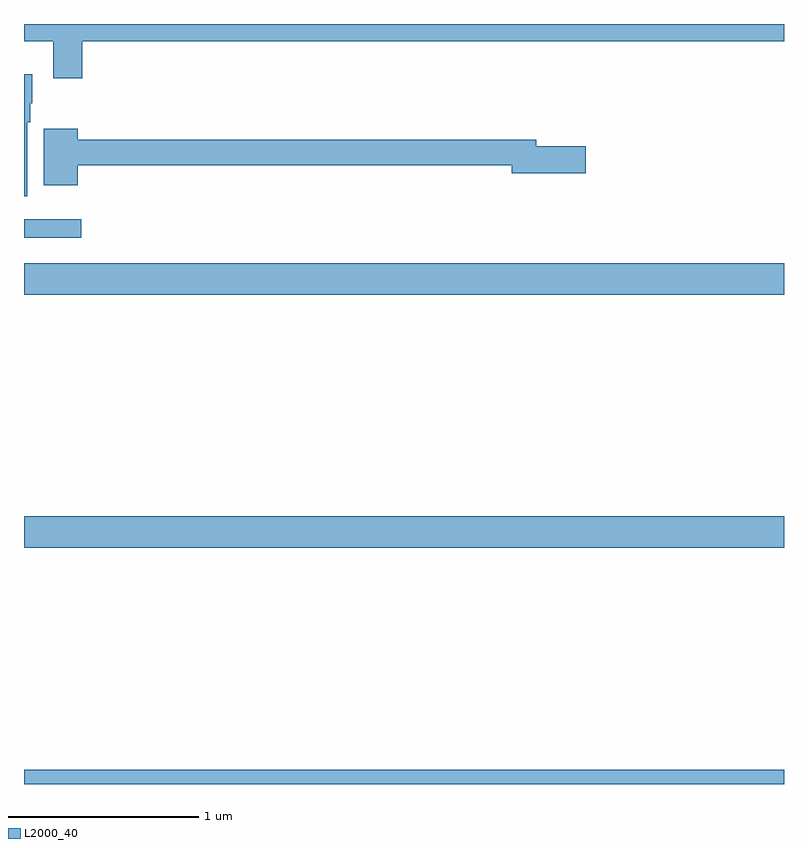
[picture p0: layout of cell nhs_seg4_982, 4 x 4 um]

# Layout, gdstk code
import gdstk
lib = gdstk.Library(unit=1e-6, precision=1e-09)
def R(c, l, rs):  # rectangles x0, y0, x1, y1
    for r in rs: c.add(gdstk.rectangle(r[:2], r[2:], *l))
def P(c, l, *ps):  # polygons
    for p in ps: c.add(gdstk.Polygon(p, *l))
L2000_40 = (2000, 40)

nhs_seg4_982 = lib.new_cell('nhs_seg4_982')
R(nhs_seg4_982, L2000_40, [(161,804.9,165,804.976), (161,806.144,165,806.308), (161,807.476,165,807.64), (161,807.776,161.302,807.873)])
P(nhs_seg4_982, L2000_40, [(161.306,808.808),(165,808.808),(165,808.9),(161,808.9),(161,808.808),(161.153,808.808),(161.153,808.614),(161.306,808.614)],
  [(161.017,808.382),(161.032,808.382),(161.032,808.482),(161.044,808.482),(161.044,808.636),(161,808.636),(161,807.993),(161.017,807.993)],
  [(161.284,808.156),(163.568,808.156),(163.568,808.114),(163.957,808.114),(163.957,808.256),(163.696,808.256),(163.696,808.292),(161.284,808.292),(161.284,808.348),(161.105,808.348),(161.105,808.052),(161.284,808.052)])

lib.write_gds('nhs_seg4_982.gds')
